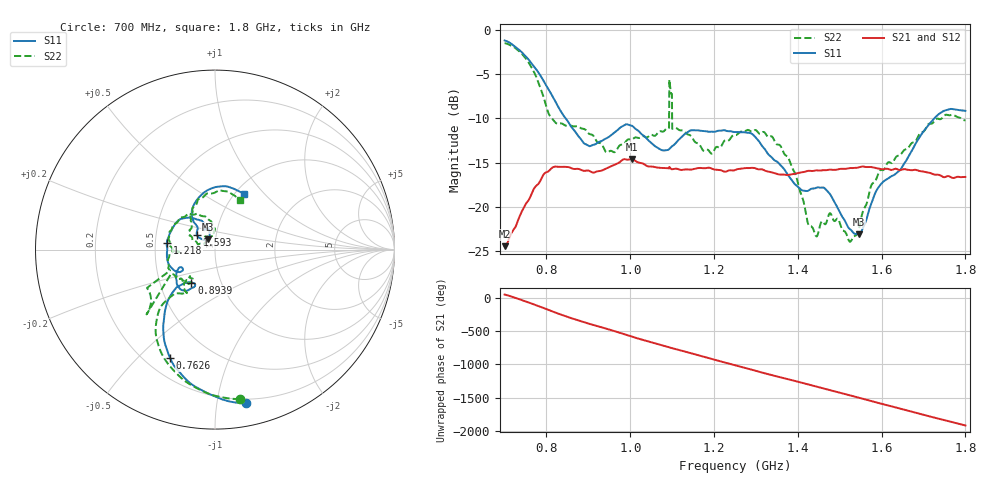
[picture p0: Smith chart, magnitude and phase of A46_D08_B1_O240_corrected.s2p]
! Created with skrf 1.9.0 (http://scikit-rf.org).
# Hz S RI R 50.0
!freq ReS11 ImS11 ReS21 ImS21 ReS12 ImS12 ReS22 ImS22
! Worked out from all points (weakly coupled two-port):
!   1601 points, 700 MHz to 1.8 GHz, reference 50 ohm
!   highest |S21| = -14.57 dB at 1.003 GHz (marker M1); lowest = -24.4 dB at 700.7 MHz (marker M2)
!   lowest |S11| = -23.1 dB at 1.546 GHz (marker M3), VSWR 1.15, Z = 45.9 + j5.32 ohm
!   |S11| at or under -10 dB: 846 MHz to 1.726 GHz (879.6 MHz wide, 68.4 % of centre)
!   |S22| runs from -23.9 to -1.5 dB; largest |S21 - S12| = 0.0036
!   S11 on the Smith chart (normalised r, x): 700 MHz: 0.17, -1.21; 762.6 MHz: 0.30, -0.63; 893.9 MHz: 0.72, -0.28; 1.218 GHz: 0.58, +0.04; 1.593 GHz: 0.81, +0.13; 1.8 GHz: 1.10, +0.78
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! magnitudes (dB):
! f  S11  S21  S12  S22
! 700 MHz  -1.2  -24.4  -24.2  -1.5
! 700.7 MHz  -1.2  -24.4  -24.1  -1.5
! 762.6 MHz  -3.7  -18.7  -18.7  -4.1
! 814.1 MHz  -7.5  -15.6  -15.6  -10.1
! 883.6 MHz  -12.4  -15.8  -15.7  -11.1
! 893.9 MHz  -12.9  -15.9  -16.0  -11.3
! 944.8 MHz  -12.2  -15.6  -15.6  -13.9
! 1.003 GHz  -10.8  -14.6  -14.7  -12.4
! 1.067 GHz  -13.4  -15.6  -15.5  -11.5
! 1.087 GHz  -13.6  -15.6  -15.6  -11.1
! 1.099 GHz  -13.2  -15.7  -15.7  -7.2
! 1.106 GHz  -12.9  -15.7  -15.7  -11.1
! 1.218 GHz  -11.4  -15.9  -15.9  -13.1
! 1.25 GHz  -11.5  -15.8  -15.8  -11.9
! 1.358 GHz  -15.2  -16.3  -16.3  -13.1
! 1.434 GHz  -17.9  -15.9  -15.9  -22.3
! 1.525 GHz  -22.5  -15.6  -15.6  -23.9
! 1.546 GHz  -23.1  -15.5  -15.5  -22.4
! 1.593 GHz  -17.8  -15.7  -15.7  -16.1
! 1.617 GHz  -16.7  -15.7  -15.7  -14.9
! 1.733 GHz  -9.6  -16.4  -16.4  -10.0
! 1.8 GHz  -9.1  -16.6  -16.6  -10.2
